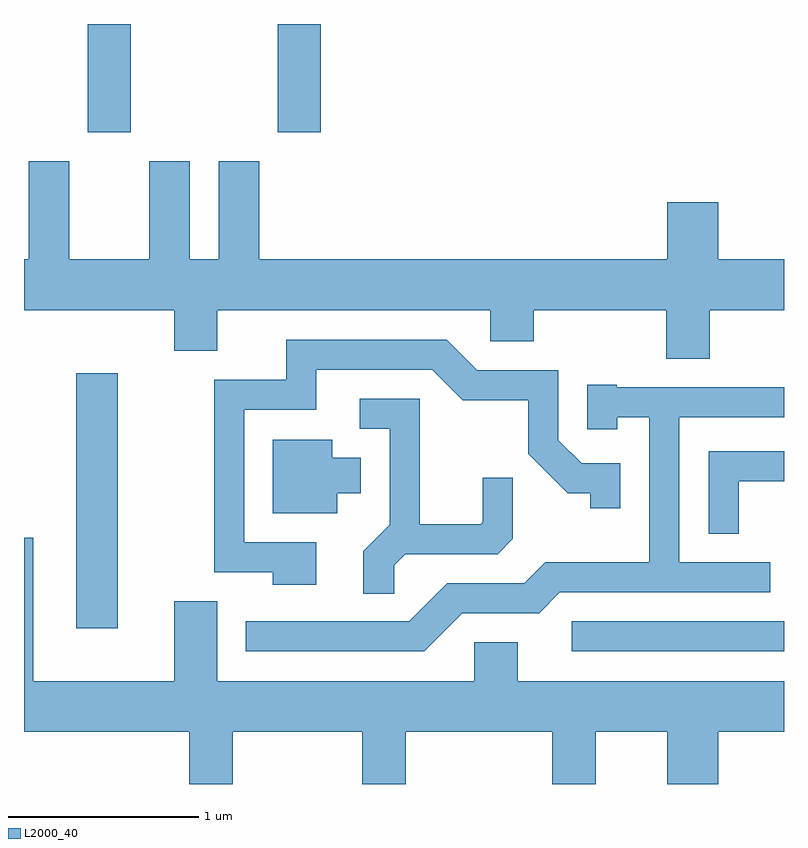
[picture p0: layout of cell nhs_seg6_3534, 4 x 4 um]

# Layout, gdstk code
import gdstk
lib = gdstk.Library(unit=1e-6, precision=1e-09)
def R(c, l, rs):  # rectangles x0, y0, x1, y1
    for r in rs: c.add(gdstk.rectangle(r[:2], r[2:], *l))
def P(c, l, *ps):  # polygons
    for p in ps: c.add(gdstk.Polygon(p, *l))
L2000_40 = (2000, 40)

nhs_seg6_3534 = lib.new_cell('nhs_seg6_3534')
R(nhs_seg6_3534, L2000_40, [(294.493,1594.861,295.611,1595.019), (291.886,1594.981,292.104,1596.324), (291.946,1597.591,292.174,1598.162), (292.946,1597.591,293.174,1598.162)])
P(nhs_seg6_3534, L2000_40, [(295.219,1596.656),(295.611,1596.656),(295.611,1596.924),(295.264,1596.924),(295.264,1597.224),(294.996,1597.224),(294.996,1596.924),(292.849,1596.924),(292.849,1597.439),(292.636,1597.439),(292.636,1596.924),(292.484,1596.924),(292.484,1597.439),(292.271,1597.439),(292.271,1596.924),(291.849,1596.924),(291.849,1597.439),(291.636,1597.439),(291.636,1596.924),(291.611,1596.924),(291.611,1596.656),(292.401,1596.656),(292.401,1596.441),(292.629,1596.441),(292.629,1596.656),(294.066,1596.656),(294.066,1596.491),(294.294,1596.491),(294.294,1596.656),(294.991,1596.656),(294.991,1596.401),(295.219,1596.401)],
  [(293.149,1595.434),(292.769,1595.434),(292.769,1596.131),(293.149,1596.131),(293.149,1596.341),(293.759,1596.341),(293.919,1596.181),(294.266,1596.181),(294.266,1595.899),(294.474,1595.691),(294.591,1595.691),(294.591,1595.613),(294.749,1595.613),(294.749,1595.849),(294.547,1595.849),(294.424,1595.972),(294.424,1596.339),(293.997,1596.339),(293.837,1596.499),(292.991,1596.499),(292.991,1596.289),(292.611,1596.289),(292.611,1595.276),(292.921,1595.276),(292.921,1595.211),(293.149,1595.211)],
  [(293.917,1595.061),(294.322,1595.061),(294.432,1595.171),(295.538,1595.171),(295.538,1595.329),(295.059,1595.329),(295.059,1596.091),(295.611,1596.091),(295.611,1596.249),(294.73,1596.249),(294.73,1596.264),(294.576,1596.264),(294.576,1596.028),(294.734,1596.028),(294.734,1596.091),(294.901,1596.091),(294.901,1595.329),(294.354,1595.329),(294.244,1595.219),(293.839,1595.219),(293.639,1595.019),(292.778,1595.019),(292.778,1594.861),(293.717,1594.861)],
  [(293.559,1595.314),(293.617,1595.371),(294.104,1595.371),(294.184,1595.452),(294.184,1595.773),(294.026,1595.773),(294.026,1595.542),(294.014,1595.529),(293.694,1595.529),(293.694,1596.189),(293.378,1596.189),(293.378,1596.031),(293.536,1596.031),(293.536,1595.527),(293.396,1595.387),(293.396,1595.163),(293.559,1595.163)],
  [(293.259,1595.691),(293.384,1595.691),(293.384,1595.879),(293.234,1595.879),(293.234,1595.974),(292.921,1595.974),(292.921,1595.586),(293.259,1595.586)],
  [(295.374,1595.756),(295.611,1595.756),(295.611,1595.914),(295.216,1595.914),(295.216,1595.478),(295.374,1595.478)],
  [(292.709,1594.436),(293.391,1594.436),(293.391,1594.162),(293.619,1594.162),(293.619,1594.436),(294.391,1594.436),(294.391,1594.162),(294.619,1594.162),(294.619,1594.436),(294.996,1594.436),(294.996,1594.162),(295.264,1594.162),(295.264,1594.436),(295.611,1594.436),(295.611,1594.704),(294.209,1594.704),(294.209,1594.909),(293.981,1594.909),(293.981,1594.704),(292.629,1594.704),(292.629,1595.124),(292.401,1595.124),(292.401,1594.704),(291.659,1594.704),(291.659,1595.459),(291.611,1595.459),(291.611,1594.436),(292.481,1594.436),(292.481,1594.162),(292.709,1594.162)])

lib.write_gds('nhs_seg6_3534.gds')
